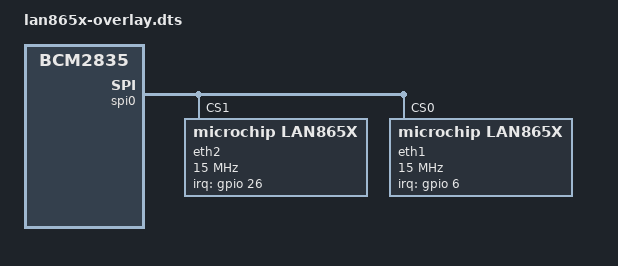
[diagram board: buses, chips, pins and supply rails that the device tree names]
// Overlay for the Microchip LAN865X Ethernet Controller
/dts-v1/;
/plugin/;

/ {
	compatible = "brcm,bcm2835";

	fragment@0 {
		target = <&spi0>;
		__overlay__ {
			/* needed to avoid dtc warning */
			#address-cells = <1>;
			#size-cells = <0>;

			status = "okay";

		/* Settings for the lan865x click board connected with Mikro Bus 2 */
		eth2: lan865x@1{
				compatible = "microchip,lan865x";
				reg = <1>; /* CE1 */
				pinctrl-names = "default";
				pinctrl-0 = <&eth2_pins>;
				interrupt-parent = <&gpio>;
				interrupts = <26 0x2>; /* 0x2 - falling edge trigger, 0x8 - active low level-sensitive */
				local-mac-address = [14 15 16 11 12 13];
				spi-max-frequency = <15000000>;
				/* PLCA settings */
				plca-enable = /bits/ 8 <1>; /* 1 - PLCA enable, 0 - CSMA/CD enable */
				plca-node-id = /bits/ 8 <0>; /* PLCA node id range: 0 to 254 */
				plca-node-count = /bits/ 8 <8>; /* PLCA node count range: 1 to 255 */
				plca-burst-count = /bits/ 8 <0x0>; /* PLCA burst count range: 0x0 to 0xFF */
				plca-burst-timer = /bits/ 8 <0x80>; /* PLCA burst timer */
				plca-to-timer = /bits/ 8 <0x20>; /* PLCA TO value */
				tx-cut-through-mode = /bits/ 8 <0>; /* 1 - tx cut through mode enable, 0 - Store and forward mode enable */
				rx-cut-through-mode = /bits/ 8 <0>; /* 1 - rx cut through mode enable, 0 - Store and forward mode enable */
				oa-chunk-size = /bits/ 8 <64>;
				oa-protected = /bits/ 8 <0>;
				status = "okay";
			};
		/* Settings for the lan865x click board connected with Mikro Bus 1 */
		eth1: lan865x@0{
				compatible = "microchip,lan865x";
				reg = <0>; /* CE0 */
				pinctrl-names = "default";
				pinctrl-0 = <&eth1_pins>;
				interrupt-parent = <&gpio>;
				interrupts = <6 0x2>; /* 0x2 - falling edge trigger, 0x8 - active low level-sensitive */
				local-mac-address = [04 05 06 01 02 03];
				spi-max-frequency = <15000000>;
				/* PLCA settings */
				plca-enable = /bits/ 8 <1>; /* 1 - PLCA enable, 0 - CSMA/CD enable */
				plca-node-id = /bits/ 8 <0>; /* PLCA node id range: 0 to 254 */
				plca-node-count = /bits/ 8 <8>; /* PLCA node count range: 1 to 255 */
				plca-burst-count = /bits/ 8 <0x0>; /* PLCA burst count range: 0x0 to 0xFF */
				plca-burst-timer = /bits/ 8 <0x80>; /* PLCA burst timer */
				plca-to-timer = /bits/ 8 <0x20>; /* PLCA TO value */
				tx-cut-through-mode = /bits/ 8 <0>; /* 1 - tx cut through mode enable, 0 - Store and forward mode enable */
				rx-cut-through-mode = /bits/ 8 <0>; /* 1 - rx cut through mode enable, 0 - Store and forward mode enable */
                                oa-chunk-size = /bits/ 8 <64>;
                                oa-protected = /bits/ 8 <1>;
				status = "okay";
			};
		};
	};

	fragment@1 {
		target = <&spidev0>;
		__overlay__ {
			status = "disabled";
		};
	};

	fragment@2 {
		target = <&gpio>;
		__overlay__ {
			eth1_pins: eth1_pins {
				brcm,pins = <6>;
				brcm,function = <0>; /* in */
				brcm,pull = <0>; /* none */
			};
			eth2_pins: eth2_pins {
				brcm,pins = <26>;
				brcm,function = <0>; /* in */
				brcm,pull = <0>; /* none */
			};
		};
	};

	__overrides__ {
		int_pin_1 = <&eth1>, "interrupts:0",
		          <&eth1_pins>, "brcm,pins:0";
		speed_1   = <&eth1>, "spi-max-frequency:0";
		int_pin_2 = <&eth2>, "interrupts:0",
		          <&eth2_pins>, "brcm,pins:0";
		speed_2   = <&eth2>, "spi-max-frequency:0";
	};
};
